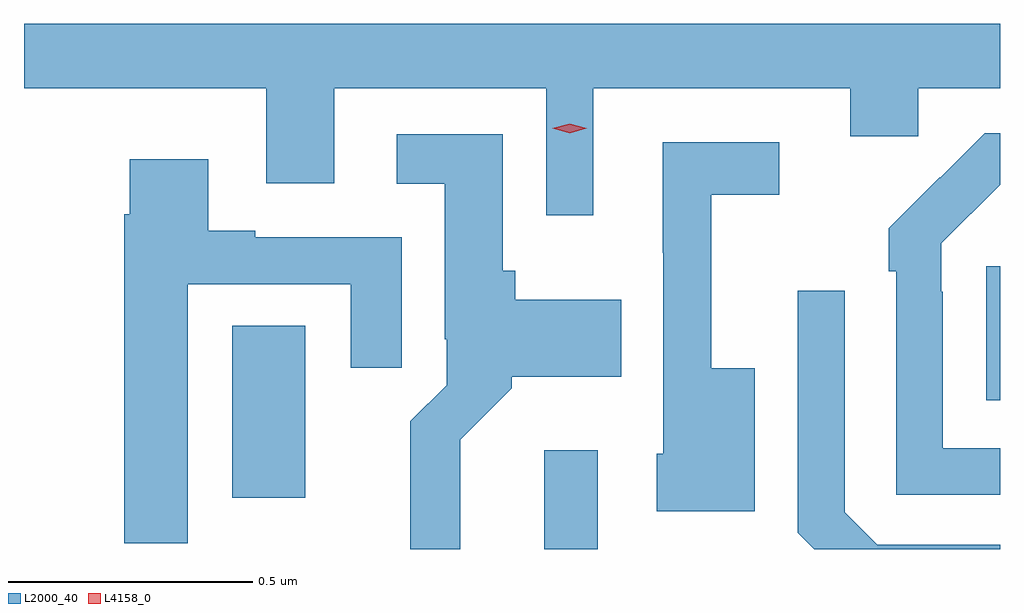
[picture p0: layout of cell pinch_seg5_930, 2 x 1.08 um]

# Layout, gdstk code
import gdstk
lib = gdstk.Library(unit=1e-6, precision=1e-09)
def R(c, l, rs):  # rectangles x0, y0, x1, y1
    for r in rs: c.add(gdstk.rectangle(r[:2], r[2:], *l))
def P(c, l, *ps):  # polygons
    for p in ps: c.add(gdstk.Polygon(p, *l))
L2000_40 = (2000, 40)
L4158_0 = (4158, 0)

pinch_seg5_930 = lib.new_cell('pinch_seg5_930')
R(pinch_seg5_930, L2000_40, [(706.349,914.424,706.459,914.626), (705.71,914.529,705.859,914.882), (707.255,914.729,707.283,915.004)])
P(pinch_seg5_930, L2000_40, [(706.45,915.368),(706.976,915.368),(706.976,915.27),(707.115,915.27),(707.115,915.368),(707.283,915.368),(707.283,915.5),(705.283,915.5),(705.283,915.368),(705.779,915.368),(705.779,915.174),(705.919,915.174),(705.919,915.368),(706.353,915.368),(706.353,915.108),(706.45,915.108)],
  [(707.283,914.631),(707.166,914.631),(707.166,914.951),(707.163,914.951),(707.163,915.051),(707.283,915.171),(707.283,915.276),(707.252,915.276),(707.161,915.185),(707.16,915.186),(707.055,915.081),(707.055,914.993),(707.07,914.993),(707.07,914.535),(707.283,914.535)],
  [(706.177,914.648),(706.282,914.754),(706.282,914.777),(706.507,914.777),(706.507,914.935),(706.29,914.935),(706.29,914.994),(706.264,914.994),(706.264,915.274),(706.047,915.274),(706.047,915.173),(706.145,915.173),(706.145,914.854),(706.149,914.854),(706.149,914.76),(706.075,914.686),(706.075,914.424),(706.177,914.424)],
  [(706.78,914.794),(706.691,914.794),(706.691,915.15),(706.831,915.15),(706.831,915.258),(706.592,915.258),(706.592,915.031),(706.593,915.031),(706.593,914.619),(706.58,914.619),(706.58,914.501),(706.78,914.501)],
  [(705.619,914.967),(705.953,914.967),(705.953,914.796),(706.057,914.796),(706.057,915.063),(705.757,915.063),(705.757,915.076),(705.661,915.076),(705.661,915.223),(705.5,915.223),(705.5,915.11),(705.488,915.11),(705.488,914.436),(705.619,914.436)],
  [(707.283,914.433),(707.031,914.433),(706.965,914.499),(706.965,914.953),(706.869,914.953),(706.869,914.457),(706.902,914.424),(707.283,914.424)])
P(pinch_seg5_930, L4158_0, [(706.401,915.276),(706.365,915.286),(706.365,915.286),(706.365,915.286),(706.401,915.296),(706.436,915.286),(706.436,915.286),(706.436,915.286)])

lib.write_gds('pinch_seg5_930.gds')
